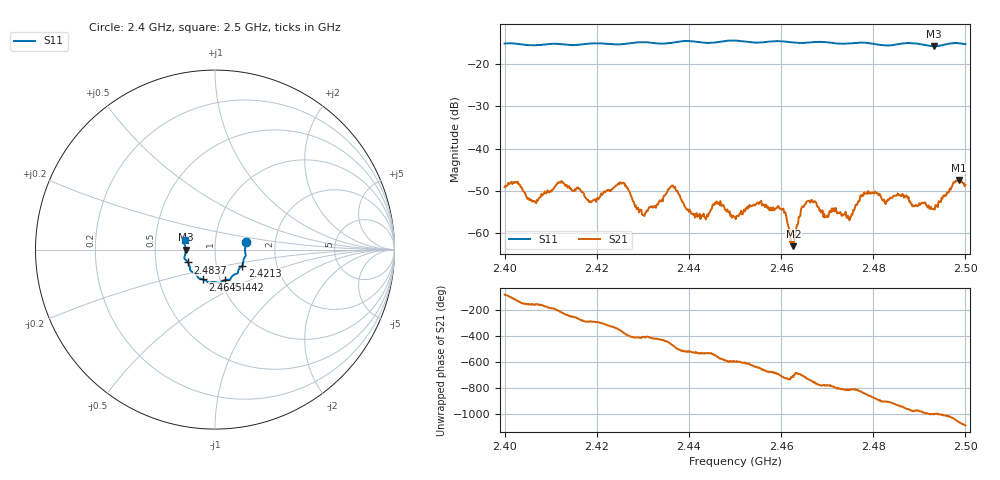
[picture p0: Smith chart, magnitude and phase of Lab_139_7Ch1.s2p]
# Hz S RI R 50
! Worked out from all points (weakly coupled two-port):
!   601 points, 2.4 GHz to 2.5 GHz, reference 50 ohm
!   highest |S21| = -47.38 dB at 2.4987 GHz (marker M1); lowest = -63.1 dB at 2.4627 GHz (marker M2)
!   lowest |S11| = -15.7 dB at 2.4932 GHz (marker M3), VSWR 1.39, Z = 35.9 - j0.0377 ohm
!   |S11| at or under -10 dB: start of sweep to end of sweep
!   S12 and S22 are empty: the file has one direction only
!   S11 on the Smith chart (normalised r, x): 2.4 GHz: 1.41, +0.12; 2.4213 GHz: 1.33, -0.25; 2.4442 GHz: 1.05, -0.37; 2.4645 GHz: 0.83, -0.29; 2.4837 GHz: 0.73, -0.11; 2.5 GHz: 0.71, +0.07
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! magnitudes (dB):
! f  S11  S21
! 2.4 GHz  -15.1  -49.1
! 2.4063 GHz  -15.5  -52.3
! 2.412 GHz  -15.2  -47.8
! 2.4167 GHz  -15.3  -50.2
! 2.4213 GHz  -15.1  -50.7
! 2.4255 GHz  -15.3  -48.2
! 2.4298 GHz  -14.8  -55.5
! 2.4333 GHz  -15.1  -53.2
! 2.4365 GHz  -14.9  -48.7
! 2.4442 GHz  -15.0  -56.0
! 2.45 GHz  -14.4  -56.3
! 2.4597 GHz  -14.6  -54.2
! 2.4627 GHz  -14.9  -63.1
! 2.4645 GHz  -15.0  -53.9
! 2.4667 GHz  -14.8  -52.1
! 2.4747 GHz  -15.1  -56.1
! 2.4783 GHz  -14.9  -50.6
! 2.4833 GHz  -15.6  -52.1
! 2.4837 GHz  -15.5  -51.6
! 2.4932 GHz  -15.7  -54.3
! 2.4987 GHz  -15.1  -47.4
! 2.5 GHz  -15.3  -48.6
